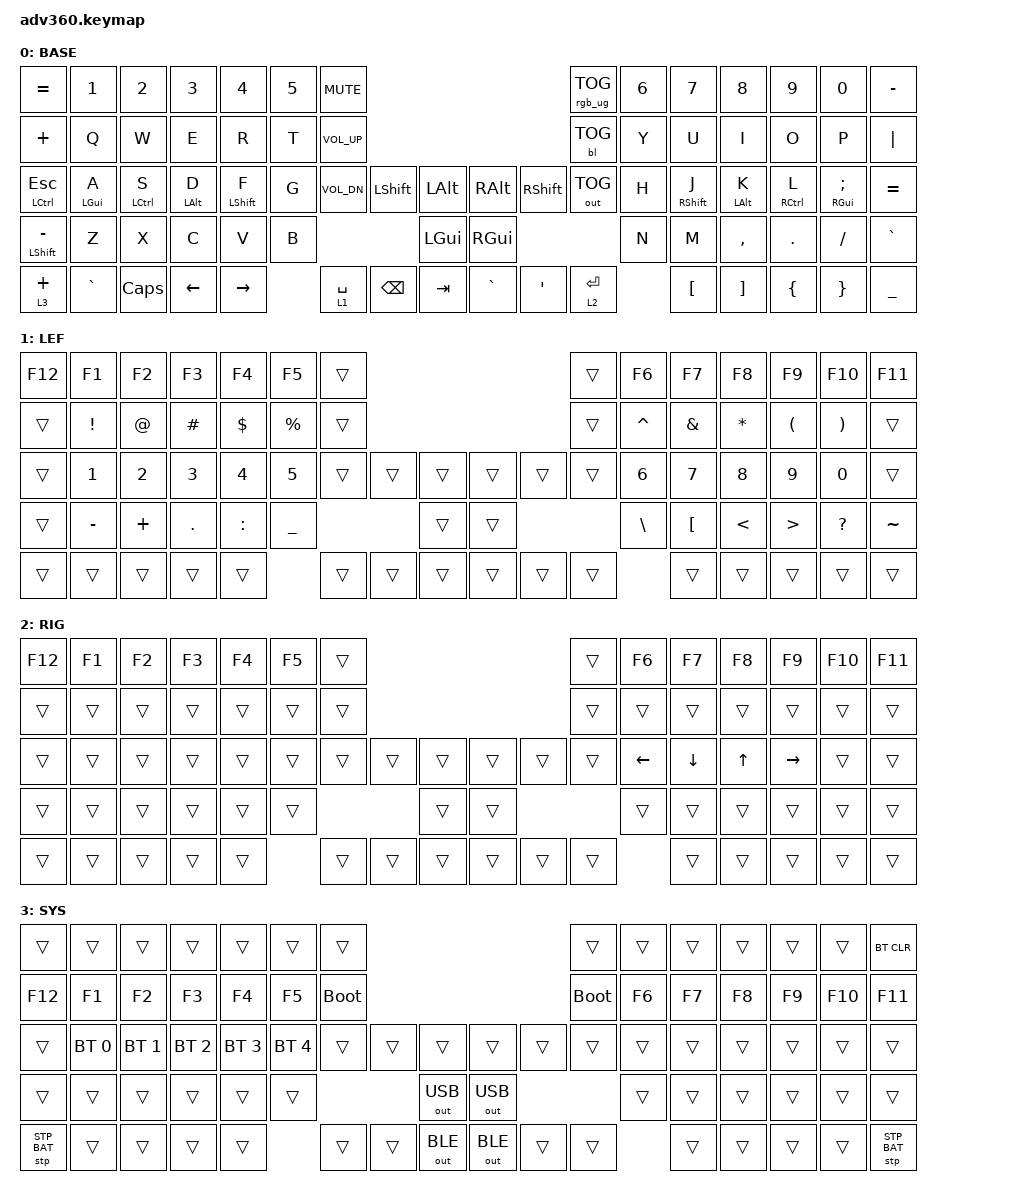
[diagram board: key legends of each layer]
#include <dt-bindings/zmk/stp.h>
#include <behaviors.dtsi>
#include <dt-bindings/zmk/backlight.h>
#include <dt-bindings/zmk/bt.h>
#include <dt-bindings/zmk/keys.h>
#include <dt-bindings/zmk/outputs.h>
#include <dt-bindings/zmk/rgb.h>

// layers

#define BAS 0
#define LEF 1
#define RIG 2
#define SYS 3

/ {
    behaviors {
        bhm: homerow_mods {
            compatible = "zmk,behavior-hold-tap";
            label = "HOMEROW_MODS";
            #binding-cells = <2>;
            flavor = "tap-preferred";
            tapping-term-ms = <200>;
            quick-tap-ms = <175>;
            require-prior-idle-ms = <125>;
            bindings = <&kp>, <&kp>;
        };

        shm: shift_hr_mod {
            compatible = "zmk,behavior-hold-tap";
            label = "SHIFT_HOMEROW_MODS";
            #binding-cells = <2>;
            flavor = "tap-preferred";
            tapping-term-ms = <175>;
            quick-tap-ms = <150>;
            require-prior-idle-ms = <125>;
            bindings = <&kp>, <&kp>;
        };
    };

    conditional_layers {
        compatible = "zmk,conditional-layers";

        tri_layer {
            if-layers = <RIG LEF>;
            then-layer = <SYS>;
        };
    };

    combos {
        compatible = "zmk,combos";

        LSHFT_QMARK {
            bindings = <&kp QMARK>;
            key-positions = <32 58>;
            layers = <1 0 2>;
        };

        RSHFT_QMARK {
            bindings = <&kp QMARK>;
            key-positions = <58 41>;
            layers = <1 0 2>;
        };

        LAYER_QMARK {
            bindings = <&kp QMARK>;
            key-positions = <58 65>;
            layers = <1 0 2>;
        };
    };

    keymap {
        compatible = "zmk,keymap";

        base_layer {
            display-name = "BASE";
            bindings = <
&kp EQUAL        &kp N1       &kp N2        &kp N3       &kp N4         &kp N5  &kp C_MUTE                                                   &rgb_ug RGB_TOG  &kp N6  &kp N7         &kp N8       &kp N9        &kp N0          &kp MINUS
&kp PLUS         &kp Q        &kp W         &kp E        &kp R          &kp T   &kp C_VOL_UP                                                 &bl BL_TOG       &kp Y   &kp U          &kp I        &kp O         &kp P           &kp PIPE
&mt LCTRL ESC    &bhm LGUI A  &bhm LCTRL S  &bhm LALT D  &shm LSHIFT F  &kp G   &kp C_VOL_DN  &kp LSHFT  &kp LALT      &kp RALT   &kp RSHFT  &out OUT_TOG     &kp H   &shm RSHIFT J  &bhm LALT K  &bhm RCTRL L  &bhm RGUI SEMI  &kp EQUAL
&mt LSHFT MINUS  &kp Z        &kp X         &kp C        &kp V          &kp B                            &kp LGUI      &kp RGUI                               &kp N   &kp M          &kp COMMA    &kp DOT       &kp FSLH        &kp GRAVE
&lt 3 PLUS       &kp GRAVE    &kp CAPS      &kp LEFT     &kp RIGHT              &lt 1 SPACE   &kp BSPC   &kp TAB       &kp GRAVE  &kp SQT    &lt 2 ENTER              &kp LBKT       &kp RBKT     &kp LBRC      &kp RBRC        &kp UNDER
            >;
        };

        left_layer {
            display-name = "LEF";
            bindings = <
&kp F12  &kp F1     &kp F2    &kp F3      &kp F4      &kp F5       &trans                                      &trans  &kp F6     &kp F7    &kp F8    &kp F9    &kp F10    &kp F11
&trans   &kp EXCL   &kp AT    &kp POUND   &kp DOLLAR  &kp PERCENT  &trans                                      &trans  &kp CARET  &kp AMPS  &kp STAR  &kp LPAR  &kp RPAR   &trans
&trans   &kp N1     &kp N2    &kp N3      &kp N4      &kp N5       &trans  &trans  &trans      &trans  &trans  &trans  &kp N6     &kp N7    &kp N8    &kp N9    &kp N0     &trans
&trans   &kp MINUS  &kp PLUS  &kp PERIOD  &kp COLON   &kp UNDER                    &trans      &trans                  &kp BSLH   &kp LBKT  &kp LT    &kp GT    &kp QMARK  &kp TILDE
&trans   &trans     &trans    &trans      &trans                   &trans  &trans  &trans      &trans  &trans  &trans             &trans    &trans    &trans    &trans     &trans
            >;
        };

        right_layer {
            display-name = "RIG";
            bindings = <
&kp F12  &kp F1  &kp F2  &kp F3  &kp F4  &kp F5  &trans                                      &trans  &kp F6    &kp F7    &kp F8  &kp F9     &kp F10  &kp F11
&trans   &trans  &trans  &trans  &trans  &trans  &trans                                      &trans  &trans    &trans    &trans  &trans     &trans   &trans
&trans   &trans  &trans  &trans  &trans  &trans  &trans  &trans  &trans      &trans  &trans  &trans  &kp LEFT  &kp DOWN  &kp UP  &kp RIGHT  &trans   &trans
&trans   &trans  &trans  &trans  &trans  &trans                  &trans      &trans                  &trans    &trans    &trans  &trans     &trans   &trans
&trans   &trans  &trans  &trans  &trans          &trans  &trans  &trans      &trans  &trans  &trans            &trans    &trans  &trans     &trans   &trans
            >;
        };

        sys_layer {
            display-name = "SYS";
            bindings = <
&trans        &trans        &trans        &trans        &trans        &trans        &trans                                                       &trans       &trans  &trans  &trans  &trans  &trans   &bt BT_CLR
&kp F12       &kp F1        &kp F2        &kp F3        &kp F4        &kp F5        &bootloader                                                  &bootloader  &kp F6  &kp F7  &kp F8  &kp F9  &kp F10  &kp F11
&trans        &bt BT_SEL 0  &bt BT_SEL 1  &bt BT_SEL 2  &bt BT_SEL 3  &bt BT_SEL 4  &trans       &trans  &trans            &trans        &trans  &trans       &trans  &trans  &trans  &trans  &trans   &trans
&trans        &trans        &trans        &trans        &trans        &trans                             &out OUT_USB      &out OUT_USB                       &trans  &trans  &trans  &trans  &trans   &trans
&stp STP_BAT  &trans        &trans        &trans        &trans                      &trans       &trans  &out OUT_BLE      &out OUT_BLE  &trans  &trans               &trans  &trans  &trans  &trans   &stp STP_BAT
            >;
        };

        extra1 {
            display-name = "Red";
            status = "reserved";
        };

        extra2 {
            display-name = "Purple";
            status = "reserved";
        };

        extra3 {
            display-name = "Cyan";
            status = "reserved";
        };

        extra4 {
            display-name = "Yellow";
            status = "reserved";
        };
    };
};
